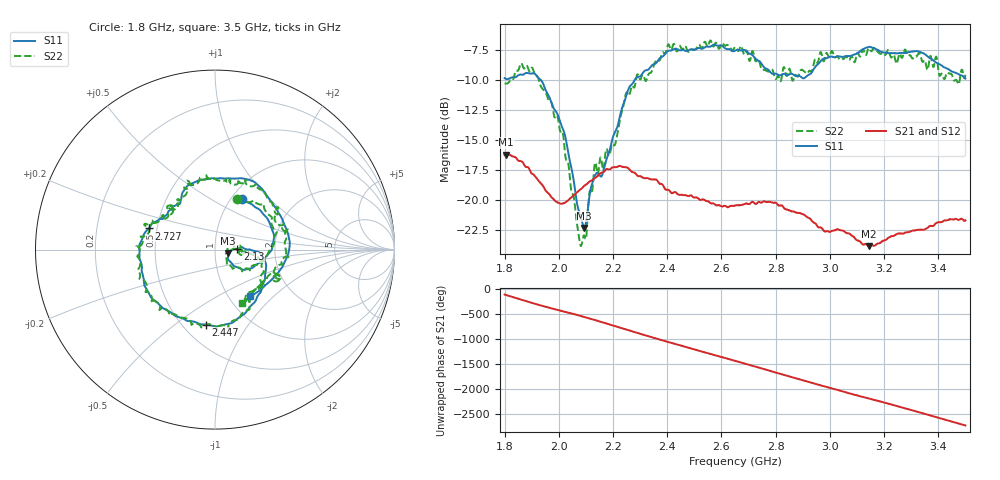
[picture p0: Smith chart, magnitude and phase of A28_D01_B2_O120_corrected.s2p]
! Created with skrf 1.9.0 (http://scikit-rf.org).
# Hz S RI R 50.0
!freq ReS11 ImS11 ReS21 ImS21 ReS12 ImS12 ReS22 ImS22
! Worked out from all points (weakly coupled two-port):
!   1601 points, 1.8 GHz to 3.5 GHz, reference 50 ohm
!   highest |S21| = -16.20 dB at 1.805 GHz (marker M1); lowest = -23.8 dB at 3.144 GHz (marker M2)
!   lowest |S11| = -22.3 dB at 2.093 GHz (marker M3), VSWR 1.17, Z = 57.9 - j2.42 ohm
!   |S11| at or under -10 dB: 1.935 GHz to 2.28 GHz (345 MHz wide, 16.4 % of centre)
!   |S22| runs from -23.8 to -6.7 dB; largest |S21 - S12| = 0.003
!   S11 on the Smith chart (normalised r, x): 1.8 GHz: 1.12, +0.71; 2.13 GHz: 1.28, +0.01; 2.447 GHz: 0.64, -0.65; 2.727 GHz: 0.45, +0.12; 3.5 GHz: 1.25, -0.72
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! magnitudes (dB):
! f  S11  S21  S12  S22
! 1.8 GHz  -9.8  -16.2  -16.2  -10.3
! 1.805 GHz  -9.9  -16.2  -16.2  -10.3
! 1.881 GHz  -9.4  -17.2  -17.3  -8.8
! 1.969 GHz  -11.6  -19.6  -19.7  -11.8
! 2.014 GHz  -14.0  -20.3  -20.3  -14.3
! 2.084 GHz  -21.6  -19.0  -19.0  -23.7
! 2.093 GHz  -22.3  -18.8  -18.9  -22.9
! 2.13 GHz  -18.1  -18.2  -18.2  -17.3
! 2.161 GHz  -17.8  -17.7  -17.6  -17.3
! 2.208 GHz  -14.3  -17.3  -17.2  -15.3
! 2.26 GHz  -10.6  -17.4  -17.4  -11.3
! 2.367 GHz  -8.3  -18.5  -18.4  -8.3
! 2.447 GHz  -7.5  -19.6  -19.6  -7.1
! 2.65 GHz  -7.5  -20.5  -20.4  -7.2
! 2.727 GHz  -8.2  -20.3  -20.3  -8.4
! 2.812 GHz  -9.6  -20.4  -20.4  -9.7
! 2.934 GHz  -9.3  -21.7  -21.7  -9.2
! 3.144 GHz  -7.2  -23.8  -23.7  -7.3
! 3.217 GHz  -7.7  -23.1  -23.1  -7.5
! 3.33 GHz  -7.6  -22.5  -22.5  -7.7
! 3.416 GHz  -8.8  -21.8  -21.7  -9.6
! 3.5 GHz  -9.9  -21.7  -21.7  -9.5
